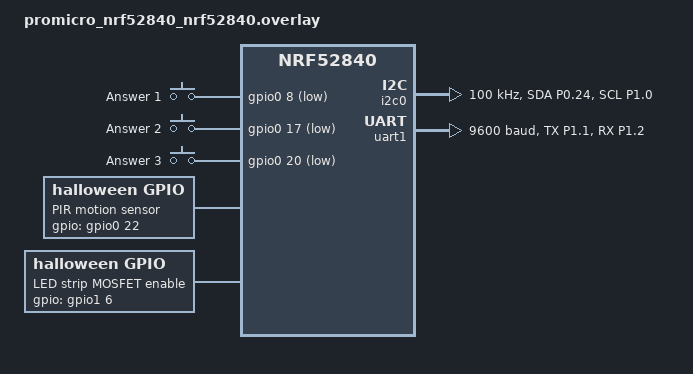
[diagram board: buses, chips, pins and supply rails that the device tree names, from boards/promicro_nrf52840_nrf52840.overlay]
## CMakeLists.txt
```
cmake_minimum_required(VERSION 3.20.0)
find_package(Zephyr REQUIRED HINTS $ENV{ZEPHYR_BASE})
project(halloween_station)

if(CONFIG_HALLOWEEN_GATE_STATION)
  target_sources(app PRIVATE src/gate.c)
else()
  target_sources(app PRIVATE src/main.c)
endif()
target_sources(app PRIVATE ../common/fota.c)
target_include_directories(app PRIVATE ../common)

if(CONFIG_HALLOWEEN_DFPLAYER AND NOT CONFIG_HALLOWEEN_GATE_STATION)
  target_sources(app PRIVATE ../common/dfplayer.c)
endif()
```

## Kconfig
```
menu "Halloween station"

config HALLOWEEN_STATION_ID
    int "Station ID (1..5)"
    range 1 5
    default 1
    help
      Station number in the puzzle chain. Station 1 starts the game;
      station 5 generates the final code.

config HALLOWEEN_GATE
    bool "Station 1 waits for the gate station (PIR) to activate it"
    default n
    help
      Without this, station 1 is active as soon as it boots or the game restarts. With it, station 1
      stays waiting until the gate station sends an activation (see gate.c). Only for station 1.

config HALLOWEEN_GATE_STATION
    bool "Build the gate station (PIR sensor) firmware instead of a puzzle station"
    default n
    help
      Use only via station_gate.conf.

if HALLOWEEN_GATE_STATION

config HALLOWEEN_GATE_PLAYER
    int "Music player (1..9) that plays the welcome and wait tracks"
    range 1 9
    default 1

config HALLOWEEN_GATE_WELCOME_TRACK
    int "Welcome/instructions track played when kids arrive"
    range 1 255
    default 10

config HALLOWEEN_GATE_WAIT_FIRST
    int "First wait track, played on motion while a game runs (0 = none)"
    range 0 255
    default 15

config HALLOWEEN_GATE_WAIT_LAST
    int "Last wait track"
    range 0 255
    default 18

config HALLOWEEN_GATE_WELCOME_SECONDS
    int "Length of the welcome track; station 1 is activated this long after it starts"
    range 1 300
    default 45

config HALLOWEEN_GATE_WAIT_COOLDOWN_SECONDS
    int "Minimum time between two wait tracks"
    range 1 600
    default 30

config HALLOWEEN_GATE_NEXT_WELCOME_SECONDS
    int "Delay before the welcome track when motion was seen during the round that just ended"
    range 0 600
    default 10

config HALLOWEEN_GATE_PIR_WARMUP_SECONDS
    int "Ignore the PIR this long after power-up"
    range 0 120
    default 30

config HALLOWEEN_GATE_GAME_TIMEOUT_MINUTES
    int "Treat the game as over after this long without the end of round being heard"
    range 1 240
    default 20

config HALLOWEEN_GATE_STATION1_TRACK
    int "Track station 1 plays locally when the gate activates it (0 = none)"
    range 0 255
    default 0

endif # HALLOWEEN_GATE_STATION

config HALLOWEEN_CORRECT_BUTTON
    int "Correct answer button (1..3)"
    range 1 3
    default 1
    help
      Which of the three answer buttons is correct at this station.

config HALLOWEEN_CODE_DISPLAY_SECONDS
    int "Seconds to show the final code on station 5's LCD (0 = always)"
    default 15
    help
      After this time the LCD hides the code and asks for it; the kids must
      then enter it on station 5's keypad from memory.

config HALLOWEEN_TEST_RELEASE_INTERVAL_S
    int "TEST: station 5 requests a candy release every N seconds (0 = off)"
    default 0
    help
      Skips the puzzle and keypad for testing the dispenser. Use only via
      station_5_test.conf, never for the real game.

config HALLOWEEN_TEST_SKIP_PUZZLE
    bool "TEST: station 5 starts directly at code entry and mirrors the LCD on the UART"
    default n
    help
      Skips the puzzle chain; the code is generated at boot and, after every
      released candy, once an answer button is pressed. Use only via station_5_code_test.conf, never for the real game.

config HALLOWEEN_DFPLAYER
    bool "DFPlayer Mini sound module on UART1"
    select SERIAL
    select UART_INTERRUPT_DRIVEN
    help
      Enables the DFPlayer Mini (see the overlay for the UART pins). Needs a
      board overlay that provides the dfplayer_uart node.

config HALLOWEEN_DFPLAYER_VOLUME
    int "DFPlayer volume (0..30)"
    range 0 30
    default 20
    depends on HALLOWEEN_DFPLAYER

config HALLOWEEN_ACTIVE_TRACK
    int "Track to play on this station when it becomes active (0 = none)"
    range 0 255
    default 0

config HALLOWEEN_CORRECT_TRACK
    int "Track to play on this station on a correct answer (0 = none)"
    range 0 255
    default 0

config HALLOWEEN_CODE_CORRECT_TRACK
    int "Station 5: track to play on this station when the correct code is typed (0 = none)"
    range 0 255
    default 0
    help
      Separate from HALLOWEEN_CORRECT_TRACK, which is used for the correct button press.

config HALLOWEEN_CELEBRATION_SECONDS
    int "Seconds the correct-answer music plays before the next station is activated"
    range 0 120
    default 8

config HALLOWEEN_WRONG_TRACK
    int "Track to play on this station on a wrong answer or wrong code (0 = none)"
    range 0 255
    default 0

config HALLOWEEN_WRONG_TIMEOUT_SECONDS
    int "Seconds all input is ignored after a wrong answer or wrong code"
    range 0 120
    default 5

config HALLOWEEN_NEW_ROUND_DELAY_SECONDS
    int "Station 5: seconds after the correct code before the new round starts"
    range 0 300
    default 40
    help
      The candy is released at the start of the celebration; the new round waits until the
      finale is over, even if the dispenser confirms earlier.

config HALLOWEEN_NEXT_STATION_TRACK
    int "Track the next station plays when this station activates it (0 = none)"
    range 0 255
    default 0
    help
      Sent in the activation message (stations 1-4). The next station needs
      a DFPlayer to play it; stations without one ignore it.

config HALLOWEEN_REMOTE_TRACK
    int "Track to start on another station or the dispenser when this one becomes active (0 = none)"
    range 0 255
    default 0

config HALLOWEEN_REMOTE_TARGET
    int "Target of HALLOWEEN_REMOTE_TRACK (1..5 = station, 0 = candy dispenser)"
    range 0 5
    default 0

config HALLOWEEN_REMOTE_PLAYER
    int "Send HALLOWEEN_REMOTE_TRACK to music player N instead (0 = no, 1..9 = player N)"
    range 0 9
    default 0
    help
      Music players (ESP32-C3, see music-player/) have their own IDs. When this is not 0,
      HALLOWEEN_REMOTE_TARGET is ignored and the track goes to the music player with this ID.

config HALLOWEEN_REMOTE_WRONG_TRACK
    int "Track sent to the remote player/target when a wrong button is pressed (0 = none)"
    range 0 255
    default 0

config HALLOWEEN_REMOTE_CORRECT_TRACK
    int "Track sent to the remote player/target when the correct button is pressed (0 = none)"
    range 0 255
    default 0

config HALLOWEEN_REMOTE_CODE_CORRECT_TRACK
    int "Station 5: track sent to the remote player/target when the correct code is typed (0 = none)"
    range 0 255
    default 0
    help
      Separate from HALLOWEEN_REMOTE_CORRECT_TRACK, which is used for the correct button press.

config HALLOWEEN_REMOTE_DELAYED_TRACK
    int "Track sent to the remote player/target some seconds after the correct button (0 = none)"
    range 0 255
    default 0
    help
      Sent once the delay has passed and the next station has acknowledged the activation
      (the BLE beacon is shared with the activation message). Cancelled when a new round starts.

config HALLOWEEN_REMOTE_DELAYED_SECONDS
    int "Delay in seconds for HALLOWEEN_REMOTE_DELAYED_TRACK"
    range 0 600
    default 10

config HALLOWEEN_LIGHTNING
    bool "Lightning effect on the LED of an active station"
    default y
    help
      A stuttering lightning intro when the station activates, then random short bursts.

config HALLOWEEN_DISPENSER_TRACK
    int "Station 5: track the dispenser plays when asked to release candy (0 = none)"
    range 0 255
    default 0

config HALLOWEEN_TEST_PINGPONG
    bool "TEST: stations 1 and 2 hand over to each other (1 -> 2 -> 1 -> ...)"
    default n
    help
      Station 1 is active from boot; a correct answer deactivates it and
      activates station 2, whose correct answer activates station 1 again.
      Use only via station_1_pingpong.conf / station_2_pingpong.conf.

config HALLOWEEN_TEST_PINGPONG_KEYPAD
    bool "TEST: a fixed code typed on the keypad also passes the activation on"
    depends on HALLOWEEN_TEST_PINGPONG
    help
      The station needs the 4x3 keypad wired as on station 5. '#' submits, '*' clears.

config HALLOWEEN_TEST_PINGPONG_CODE
    string "TEST: fixed keypad code (digits only, avoid 4, 5, 6)"
    default "1237"
    depends on HALLOWEEN_TEST_PINGPONG_KEYPAD

config HALLOWEEN_TEST_IO
    bool "TEST: station 5 shows pressed buttons and keys on the LCD and plays a track on the correct code"
    default n
    help
      Hardware test for station 5 only: no puzzle. Use only via station_5_io_test.conf.

config HALLOWEEN_TEST_IO_CODE
    string "TEST: keys that start the DFPlayer (digits only, avoid 4, 5, 6)"
    default "1237"
    depends on HALLOWEEN_TEST_IO

config HALLOWEEN_TEST_IO_TRACK
    int "TEST: DFPlayer track played when the correct keys are typed"
    range 1 255
    default 1
    depends on HALLOWEEN_TEST_IO

config HALLOWEEN_TEST_IO_NO_KEYPAD
    bool "TEST: do not scan the keypad (to check whether it disturbs the LCD)"
    default n
    depends on HALLOWEEN_TEST_IO

endmenu

source "Kconfig.zephyr"
```

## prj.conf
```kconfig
CONFIG_GPIO=y
CONFIG_PWM=y

CONFIG_BT=y
CONFIG_BT_OBSERVER=y
CONFIG_BT_BROADCASTER=y
CONFIG_BT_DEVICE_NAME="HalloweenStation"

CONFIG_LOG=y
CONFIG_LOG_DEFAULT_LEVEL=3
CONFIG_ASSERT=y

CONFIG_MAIN_STACK_SIZE=4096
CONFIG_HEAP_MEM_POOL_SIZE=1024

# FOTA over BLE (MCUboot + MCUmgr SMP), updated from the nRF Connect Device Manager app
CONFIG_BT_PERIPHERAL=y
CONFIG_BT_MAX_CONN=1
CONFIG_BOOTLOADER_MCUBOOT=y
CONFIG_NET_BUF=y
CONFIG_ZCBOR=y
CONFIG_CRC=y
CONFIG_FLASH=y
CONFIG_FLASH_MAP=y
CONFIG_STREAM_FLASH=y
CONFIG_IMG_MANAGER=y
CONFIG_MCUMGR=y
CONFIG_MCUMGR_GRP_IMG=y
CONFIG_MCUMGR_GRP_OS=y
CONFIG_MCUMGR_GRP_OS_MCUMGR_PARAMS=y
CONFIG_MCUMGR_TRANSPORT_BT=y
CONFIG_MCUMGR_TRANSPORT_BT_CONN_PARAM_CONTROL=y
CONFIG_MCUMGR_TRANSPORT_BT_REASSEMBLY=y
CONFIG_MCUMGR_TRANSPORT_NETBUF_SIZE=2475
CONFIG_MCUMGR_TRANSPORT_WORKQUEUE_STACK_SIZE=4608
CONFIG_SYSTEM_WORKQUEUE_STACK_SIZE=2304
CONFIG_BT_L2CAP_TX_MTU=498
CONFIG_BT_BUF_ACL_RX_SIZE=502
CONFIG_BT_BUF_ACL_TX_SIZE=502
CONFIG_BT_CTLR_DATA_LENGTH_MAX=251
```

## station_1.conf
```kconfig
CONFIG_HALLOWEEN_STATION_ID=1
CONFIG_HALLOWEEN_CORRECT_BUTTON=3
CONFIG_HALLOWEEN_REMOTE_PLAYER=2
CONFIG_HALLOWEEN_REMOTE_TRACK=25
CONFIG_HALLOWEEN_REMOTE_WRONG_TRACK=8
CONFIG_HALLOWEEN_REMOTE_CORRECT_TRACK=21
CONFIG_HALLOWEEN_REMOTE_DELAYED_TRACK=0
CONFIG_HALLOWEEN_REMOTE_DELAYED_SECONDS=10
CONFIG_HALLOWEEN_GATE=y
```

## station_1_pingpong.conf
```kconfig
CONFIG_HALLOWEEN_STATION_ID=1
CONFIG_HALLOWEEN_CORRECT_BUTTON=2
CONFIG_HALLOWEEN_TEST_PINGPONG=y
CONFIG_HALLOWEEN_TEST_PINGPONG_KEYPAD=y
CONFIG_HALLOWEEN_TEST_PINGPONG_CODE="1237"
```

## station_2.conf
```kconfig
CONFIG_HALLOWEEN_STATION_ID=2
CONFIG_HALLOWEEN_CORRECT_BUTTON=2
CONFIG_HALLOWEEN_REMOTE_PLAYER=2
CONFIG_HALLOWEEN_REMOTE_TRACK=25
CONFIG_HALLOWEEN_REMOTE_WRONG_TRACK=5
CONFIG_HALLOWEEN_REMOTE_CORRECT_TRACK=23
CONFIG_HALLOWEEN_REMOTE_DELAYED_TRACK=0
CONFIG_HALLOWEEN_REMOTE_DELAYED_SECONDS=10
```

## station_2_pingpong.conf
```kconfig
CONFIG_HALLOWEEN_STATION_ID=2
CONFIG_HALLOWEEN_CORRECT_BUTTON=3
CONFIG_HALLOWEEN_TEST_PINGPONG=y
```

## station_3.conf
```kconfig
CONFIG_HALLOWEEN_STATION_ID=3
CONFIG_HALLOWEEN_CORRECT_BUTTON=2
CONFIG_HALLOWEEN_REMOTE_PLAYER=2
CONFIG_HALLOWEEN_REMOTE_TRACK=9
CONFIG_HALLOWEEN_REMOTE_WRONG_TRACK=1
CONFIG_HALLOWEEN_REMOTE_CORRECT_TRACK=20
CONFIG_HALLOWEEN_REMOTE_DELAYED_TRACK=0
CONFIG_HALLOWEEN_REMOTE_DELAYED_SECONDS=10
```

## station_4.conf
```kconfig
CONFIG_HALLOWEEN_STATION_ID=4
CONFIG_HALLOWEEN_CORRECT_BUTTON=3
CONFIG_HALLOWEEN_REMOTE_PLAYER=3
CONFIG_HALLOWEEN_REMOTE_TRACK=24
CONFIG_HALLOWEEN_REMOTE_WRONG_TRACK=7
CONFIG_HALLOWEEN_REMOTE_CORRECT_TRACK=21
CONFIG_HALLOWEEN_REMOTE_DELAYED_TRACK=0
CONFIG_HALLOWEEN_REMOTE_DELAYED_SECONDS=10
```

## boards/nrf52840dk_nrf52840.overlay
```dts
/*
 * nRF52840 DK for testing a station (mainly station 5 with station_5_test.conf).
 * The three answer buttons are external, wired between GPIO and GND on P1.10 / P1.11 / P1.12
 * (override of the board's button1..button3).
 * The station LED output is LED1 (P0.13, active low).
 * The keypad ribbon pins 1..7 connect to P1.01..P1.07; the LCD I2C is the board's i2c0
 * (Arduino header SDA P0.26 / SCL P0.27). Without an LCD the firmware logs an error and continues.
 */
/ {
    halloween_keypad {
        /* HALJIA keypad ribbon pin N is wired to P1.0N: R1=pin2, R2=pin7, R3=pin6, R4=pin4, C1=pin3, C2=pin1, C3=pin5 */
        krow1: krow_1 { compatible = "halloween,gpio"; gpios = <&gpio1 2 GPIO_ACTIVE_HIGH>; };
        krow2: krow_2 { compatible = "halloween,gpio"; gpios = <&gpio1 7 GPIO_ACTIVE_HIGH>; };
        krow3: krow_3 { compatible = "halloween,gpio"; gpios = <&gpio1 6 GPIO_ACTIVE_HIGH>; };
        krow4: krow_4 { compatible = "halloween,gpio"; gpios = <&gpio1 4 GPIO_ACTIVE_HIGH>; };

        kcol1: kcol_1 { compatible = "halloween,gpio"; gpios = <&gpio1 3 GPIO_ACTIVE_HIGH>; };
        kcol2: kcol_2 { compatible = "halloween,gpio"; gpios = <&gpio1 1 GPIO_ACTIVE_HIGH>; };
        kcol3: kcol_3 { compatible = "halloween,gpio"; gpios = <&gpio1 5 GPIO_ACTIVE_HIGH>; };
    };

    halloween_led: halloween_led {
        compatible = "halloween,gpio";
        gpios = <&gpio0 13 GPIO_ACTIVE_LOW>;
        label = "LED1 as station LED";
    };
};

&button1 { gpios = <&gpio1 10 (GPIO_PULL_UP | GPIO_ACTIVE_LOW)>; };
&button2 { gpios = <&gpio1 11 (GPIO_PULL_UP | GPIO_ACTIVE_LOW)>; };
&button3 { gpios = <&gpio1 12 (GPIO_PULL_UP | GPIO_ACTIVE_LOW)>; };

/*
 * DFPlayer Mini on UART1 (9600 8N1), used when CONFIG_HALLOWEEN_DFPLAYER=y.
 *   DK P1.08 (TX) -> 1k resistor -> DFPlayer RX
 *   DK P1.09 (RX) <- DFPlayer TX
 * Power the DFPlayer from the DK's 5V and GND pins. P1.01..P1.07 are used by the keypad.
 */
&pinctrl {
    uart1_default: uart1_default {
        group1 {
            psels = <NRF_PSEL(UART_TX, 1, 8)>;
        };
        group2 {
            psels = <NRF_PSEL(UART_RX, 1, 9)>;
            bias-pull-up;
        };
    };
    uart1_sleep: uart1_sleep {
        group1 {
            psels = <NRF_PSEL(UART_TX, 1, 8)>,
                    <NRF_PSEL(UART_RX, 1, 9)>;
            low-power-enable;
        };
    };
};

dfplayer_uart: &uart1 {
    status = "okay";
    current-speed = <9600>;
    pinctrl-0 = <&uart1_default>;
    pinctrl-1 = <&uart1_sleep>;
    pinctrl-names = "default", "sleep";
};
```

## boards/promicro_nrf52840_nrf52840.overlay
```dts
#include <zephyr/dt-bindings/pinctrl/nrf-pinctrl.h>
#include <zephyr/dt-bindings/i2c/i2c.h>

/*
 * Pin assignment for the Pro Micro nRF52840 (buttons P0.08/P0.17/P0.20, LED P1.06, keypad, LCD I2C
 * P0.24/P1.00, DFPlayer P1.01/P1.02, as wired).
 *
 * Buttons: connect each button between its GPIO and GND.
 * Internal pull-ups are enabled; pressed reads as logical 1.
 * LED output: drives a suitable MOSFET/transistor gate input, NOT the LED strip directly.
 */
 / {
    halloween_buttons {
        compatible = "gpio-keys";

        button1: button_1 {
            gpios = <&gpio0 8 (GPIO_PULL_UP | GPIO_ACTIVE_LOW)>;
            label = "Answer 1";
        };

        button2: button_2 {
            gpios = <&gpio0 17 (GPIO_PULL_UP | GPIO_ACTIVE_LOW)>;
            label = "Answer 2";
        };

        button3: button_3 {
            gpios = <&gpio0 20 (GPIO_PULL_UP | GPIO_ACTIVE_LOW)>;
            label = "Answer 3";
        };
    };

    /*
     * Station 5 only: 4x3 code keypad, connector order R1..R4, C1..C3.
     * Rows are driven low one at a time; columns use internal pull-ups.
     * EXAMPLE pins, verify they are free/exposed on your board.
     */
    halloween_keypad {
        krow1: krow_1 { compatible = "halloween,gpio"; gpios = <&gpio0 29 GPIO_ACTIVE_HIGH>; };
        krow2: krow_2 { compatible = "halloween,gpio"; gpios = <&gpio0 6 GPIO_ACTIVE_HIGH>; };
        krow3: krow_3 { compatible = "halloween,gpio"; gpios = <&gpio1 11 GPIO_ACTIVE_HIGH>; };
        krow4: krow_4 { compatible = "halloween,gpio"; gpios = <&gpio1 15 GPIO_ACTIVE_HIGH>; };

        kcol1: kcol_1 { compatible = "halloween,gpio"; gpios = <&gpio0 2 GPIO_ACTIVE_HIGH>; };
        kcol2: kcol_2 { compatible = "halloween,gpio"; gpios = <&gpio0 31 GPIO_ACTIVE_HIGH>; };
        kcol3: kcol_3 { compatible = "halloween,gpio"; gpios = <&gpio1 13 GPIO_ACTIVE_HIGH>; };
    };

    /* Gate station only: PIR motion sensor output (EXAMPLE pin, verify it is free/exposed on your board). */
    halloween_pir: halloween_pir {
        compatible = "halloween,gpio";
        gpios = <&gpio0 22 (GPIO_PULL_DOWN | GPIO_ACTIVE_HIGH)>;
        label = "PIR motion sensor";
    };

    halloween_led: halloween_led {
        compatible = "halloween,gpio";
        gpios = <&gpio1 6 GPIO_ACTIVE_HIGH>;
        label = "LED strip MOSFET enable";
    };
};


/*
 * LCD I2C controller configuration.
 * Wiring: SDA = P0.24, SCL = P1.00 (the DFPlayer uses UART1 on P1.01/P1.02).
 */
&pinctrl {
    lcd_i2c0_default: lcd_i2c0_default {
        group1 {
            psels = <NRF_PSEL(TWIM_SDA, 0, 24)>,
                    <NRF_PSEL(TWIM_SCL, 1, 0)>;
            bias-pull-up; /* helps if the backpack's pull-ups are weak or missing */
        };
    };

    lcd_i2c0_sleep: lcd_i2c0_sleep {
        group1 {
            psels = <NRF_PSEL(TWIM_SDA, 0, 24)>,
                    <NRF_PSEL(TWIM_SCL, 1, 0)>;
            low-power-enable;
        };
    };
};

&i2c0 {
    status = "okay";
    pinctrl-0 = <&lcd_i2c0_default>;
    pinctrl-1 = <&lcd_i2c0_sleep>;
    pinctrl-names = "default", "sleep";
    clock-frequency = <I2C_BITRATE_STANDARD>;
};


/*
 * DFPlayer Mini on UART1 (9600 8N1), used when CONFIG_HALLOWEEN_DFPLAYER=y.
 *   P1.01 (TX) -> 1k resistor -> DFPlayer RX
 *   P1.02 (RX) <- DFPlayer TX
 * EXAMPLE pins, verify they are free/exposed on your board.
 * The board's uart1_default may exist already, so both groups are set explicitly.
 */
&pinctrl {
    uart1_default: uart1_default {
        group1 {
            psels = <NRF_PSEL(UART_TX, 1, 1)>;
        };
        group2 {
            psels = <NRF_PSEL(UART_RX, 1, 2)>;
            bias-pull-up;
        };
    };
    uart1_sleep: uart1_sleep {
        group1 {
            psels = <NRF_PSEL(UART_TX, 1, 1)>,
                    <NRF_PSEL(UART_RX, 1, 2)>;
            low-power-enable;
        };
    };
};

dfplayer_uart: &uart1 {
    status = "okay";
    current-speed = <9600>;
    pinctrl-0 = <&uart1_default>;
    pinctrl-1 = <&uart1_sleep>;
    pinctrl-names = "default", "sleep";
};
```

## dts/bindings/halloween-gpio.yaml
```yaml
description: Single GPIO output used by a Halloween station (LED strip driver)

compatible: "halloween,gpio"

properties:
  gpios:
    type: phandle-array
    required: true
  label:
    type: string
```

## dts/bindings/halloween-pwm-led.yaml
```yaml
description: PWM output used by a Halloween station (LED strip MOSFET gate)

compatible: "halloween,pwm-led"

properties:
  pwms:
    type: phandle-array
    required: true
  label:
    type: string
```

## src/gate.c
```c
/* Gate station: a PIR sensor at the entrance starts the game.
 *
 *   IDLE      motion -> a welcome track is played on a music player
 *   WELCOME   after the welcome track, station 1 is activated (MSG_ACTIVATE, repeated until it answers)
 *   RUNNING   motion -> a wait track (rate limited) and the motion is remembered
 *   end of round (MSG_NEW_ROUND from station 5 or 1, or a timeout) -> IDLE; if there was motion
 *   during the round the welcome track starts again, otherwise everything stays idle until new motion.
 */
#include <stdbool.h>
#include <stdint.h>

#include <zephyr/kernel.h>
#include <zephyr/device.h>
#include <zephyr/drivers/gpio.h>
#include <zephyr/devicetree.h>
#include <zephyr/bluetooth/bluetooth.h>
#include <zephyr/random/random.h>
#include <zephyr/logging/log.h>

#include <app_version.h>

#include "fota.h"

LOG_MODULE_REGISTER(halloween_gate, LOG_LEVEL_INF);

/* Same protocol as the stations (see stations/README.md). */
#define HALLOWEEN_SERVICE_UUID 0xFFF0
#define PROTOCOL_VERSION 1
#define MAGIC_0 0x48
#define MAGIC_1 0x57
#define MSG_ACTIVATE 1
#define MSG_IDLE 3
#define MSG_NEW_ROUND 5
#define MSG_PLAY_TRACK 8
#define IDLE_ACTIVE_FLAG 0x8000
#define MUSIC_PLAYER_TARGET_BASE 10
#define GATE_ID 6
#define FIRST_STATION_ID 1
#define LAST_STATION_ID 5
#define PLAY_BEACON_MS 3000
#define ACTIVATE_GIVE_UP_MS 60000
#define PAYLOAD_LEN 11
#define SERVICE_DATA_LEN (2 + PAYLOAD_LEN)

#define WELCOME_MS (CONFIG_HALLOWEEN_GATE_WELCOME_SECONDS * 1000)
#define WAIT_COOLDOWN_MS (CONFIG_HALLOWEEN_GATE_WAIT_COOLDOWN_SECONDS * 1000)
#define NEXT_WELCOME_MS (CONFIG_HALLOWEEN_GATE_NEXT_WELCOME_SECONDS * 1000)
#define PIR_WARMUP_MS (CONFIG_HALLOWEEN_GATE_PIR_WARMUP_SECONDS * 1000)
#define GAME_TIMEOUT_MS ((int64_t)CONFIG_HALLOWEEN_GATE_GAME_TIMEOUT_MINUTES * 60000)
#define PLAYER_TARGET (MUSIC_PLAYER_TARGET_BASE + CONFIG_HALLOWEEN_GATE_PLAYER)

BUILD_ASSERT(CONFIG_HALLOWEEN_GATE_WAIT_LAST >= CONFIG_HALLOWEEN_GATE_WAIT_FIRST,
             "wait track range is empty");

enum gate_state {
    GATE_IDLE,
    GATE_WELCOME,   /* welcome track playing */
    GATE_ACTIVATING, /* activation beacon for station 1 */
    GATE_RUNNING,   /* a game is in progress */
};

struct beacon_msg {
    uint8_t type;
    uint8_t target;
    uint8_t source;
    uint16_t session;
    uint32_t value;
};

static const struct gpio_dt_spec led = GPIO_DT_SPEC_GET(DT_NODELABEL(halloween_led), gpios);
static const struct gpio_dt_spec pir = GPIO_DT_SPEC_GET(DT_NODELABEL(halloween_pir), gpios);

K_MSGQ_DEFINE(beacon_msgq, sizeof(struct beacon_msg), 8, 4);

static const uint8_t adv_flags = BT_LE_AD_GENERAL | BT_LE_AD_NO_BREDR;
static uint8_t service_data[SERVICE_DATA_LEN] = {
    (uint8_t)(HALLOWEEN_SERVICE_UUID & 0xff),
    (uint8_t)(HALLOWEEN_SERVICE_UUID >> 8),
    MAGIC_0, MAGIC_1, PROTOCOL_VERSION, MSG_IDLE,
    0, GATE_ID, 0, 0, 0, 0, 0
};
static struct bt_data ad[] = {
    BT_DATA(BT_DATA_FLAGS, &adv_flags, sizeof(adv_flags)),
    BT_DATA(BT_DATA_SVC_DATA16, service_data, sizeof(service_data)),
};

static enum gate_state state = GATE_IDLE;
static uint16_t session_id;
static uint8_t play_seq;
static int64_t state_since_ms;
static int64_t play_beacon_until_ms;
static int64_t last_wait_ms;
static int64_t next_welcome_ms; /* 0 = none scheduled */
static bool motion_during_round;
static uint16_t last_end_session_5;
static uint16_t last_end_session_1;

/* Lightning on the MOSFET LED, as on the puzzle stations: a stuttering intro when the welcome starts that
 * settles to steady on, then sporadic bursts while the game is going. Every burst has an even number of
 * toggles, so it ends with the LED on. The LED is off while the gate is idle. */
#define LIGHTNING_INTRO_TOGGLES 14
#define LIGHTNING_GAP_MIN_MS 3000
#define LIGHTNING_GAP_MAX_MS 12000

static uint8_t lightning_toggles_left;
static bool lightning_level;
static int64_t lightning_next_ms;
static int64_t lightning_burst_at_ms; /* 0 = no burst scheduled */
static bool led_lit;

static void set_led(bool on)
{
    (void)gpio_pin_set_dt(&led, on ? 1 : 0);
}

static uint32_t lightning_rnd(uint32_t min, uint32_t max)
{
    return min + sys_rand32_get() % (max - min + 1U);
}

static void lightning_begin(uint8_t toggles)
{
    lightning_toggles_left = toggles;
    lightning_level = true;
    lightning_next_ms = 0; /* toggle at once */
    lightning_burst_at_ms = 0;
}

static void lightning_update(bool active)
{
    int64_t now = k_uptime_get();

    if (!active) {
        if (led_lit) {
            led_lit = false;
            lightning_toggles_left = 0;
            lightning_burst_at_ms = 0;
            set_led(false);
        }
        return;
    }
    if (!led_lit) {
        led_lit = true;
        if (IS_ENABLED(CONFIG_HALLOWEEN_LIGHTNING)) {
            lightning_begin(LIGHTNING_INTRO_TOGGLES);
        } else {
            set_led(true);
        }
        return;
    }
    if (!IS_ENABLED(CONFIG_HALLOWEEN_LIGHTNING)) {
        return;
    }

    if (lightning_toggles_left > 0) {
        if (now < lightning_next_ms) {
            return;
        }
        lightning_level = !lightning_level;
        set_led(lightning_level);
        lightning_toggles_left--;
        if (lightning_toggles_left == 0) {
            lightning_burst_at_ms = now + lightning_rnd(LIGHTNING_GAP_MIN_MS, LIGHTNING_GAP_MAX_MS);
        } else if (lightning_level) {
            lightning_next_ms = now + lightning_rnd(20, 90);
        } else {
            /* Mostly short gaps, now and then a longer blackout. */
            lightning_next_ms = now + (lightning_rnd(0, 5) == 0 ? lightning_rnd(300, 700)
                                                                : lightning_rnd(30, 200));
        }
    } else if (lightning_burst_at_ms != 0 && now >= lightning_burst_at_ms) {
        lightning_begin((uint8_t)(2U * lightning_rnd(1, 4)));
    }
}

static void update_beacon(uint8_t type, uint8_t target, uint32_t value)
{
    if (type != MSG_PLAY_TRACK) {
        play_beacon_until_ms = 0;
    }
    service_data[5] = type;
    service_data[6] = target;
    service_data[8] = (uint8_t)(session_id & 0xff);
    service_data[9] = (uint8_t)(session_id >> 8);
    service_data[10] = (uint8_t)(value & 0xff);
    service_data[11] = (uint8_t)((value >> 8) & 0xff);
    service_data[12] = (uint8_t)((value >> 16) & 0xff);

    int rc = fota_adv_update(ad, ARRAY_SIZE(ad));

    if (rc < 0) {
        LOG_ERR("Updating BLE beacon failed: %d", rc);
    }
}

static void play_on_player(uint16_t track)
{
    play_seq = (uint8_t)(play_seq + 1U);
    if (play_seq == 0) {
        play_seq = 1;
    }
    update_beacon(MSG_PLAY_TRACK, PLAYER_TARGET, (uint32_t)track | ((uint32_t)play_seq << 16));
    play_beacon_until_ms = k_uptime_get() + PLAY_BEACON_MS;
    LOG_INF("Playing track %u on music player %d", track, CONFIG_HALLOWEEN_GATE_PLAYER);
}

static uint16_t random_track(uint16_t first, uint16_t last)
{
    return first + (uint16_t)(sys_rand32_get() % (uint32_t)(last - first + 1));
}

static void set_state(enum gate_state next)
{
    state = next;
    state_since_ms = k_uptime_get();
}

static void start_welcome(void)
{
    motion_during_round = false;
    next_welcome_ms = 0;
    set_state(GATE_WELCOME);
    play_on_player(CONFIG_HALLOWEEN_GATE_WELCOME_TRACK);
    LOG_INF("Welcome; activating station 1 in %d s", CONFIG_HALLOWEEN_GATE_WELCOME_SECONDS);
}

static void start_activation(void)
{
    do {
        session_id = (uint16_t)sys_rand32_get();
    } while (session_id == 0);

    set_state(GATE_ACTIVATING);
    update_beacon(MSG_ACTIVATE, FIRST_STATION_ID, CONFIG_HALLOWEEN_GATE_STATION1_TRACK);
    LOG_INF("Activating station 1");
}

static void game_running(void)
{
    set_state(GATE_RUNNING);
    last_wait_ms = k_uptime_get();
    update_beacon(MSG_IDLE, 0, 0);
}

static void game_over(const char *why)
{
    LOG_INF("Game over (%s); %s", why, motion_during_round ? "motion seen, welcoming again" : "idle");
    set_state(GATE_IDLE);
    update_beacon(MSG_IDLE, 0, 0);
    if (motion_during_round) {
        next_welcome_ms = k_uptime_get() + NEXT_WELCOME_MS;
        if (next_welcome_ms == 0) {
            next_welcome_ms = 1;
        }
    }
}

static void process_beacon(const struct beacon_msg *msg)
{
    if (msg->source < FIRST_STATION_ID || msg->source > LAST_STATION_ID) {
        return;
    }

    /* Station 1 answering (it is active, or plays its start track) proves it got the activation. */
    if (state == GATE_ACTIVATING && msg->source == FIRST_STATION_ID &&
        ((msg->type == MSG_IDLE && (msg->value & IDLE_ACTIVE_FLAG)) || msg->type == MSG_PLAY_TRACK)) {
        LOG_INF("Station 1 is active; game running");
        game_running();
        return;
    }

    /* Station 5 announces a new round after the candy; a restart of station 1 does so too. The
     * announcements repeat for a while, so each session ends the game only once. */
    if (msg->type == MSG_NEW_ROUND && msg->session != 0 && state == GATE_RUNNING) {
        if (msg->source == LAST_STATION_ID && msg->session != last_end_session_5) {
            last_end_session_5 = msg->session;
            game_over("candy released");
        } else if (msg->source == FIRST_STATION_ID && msg->session != last_end_session_1) {
            last_end_session_1 = msg->session;
            game_over("station 1 restarted");
        }
    }
}

static bool parse_ad(struct bt_data *data, void *user_data)
{
    struct beacon_msg *msg = user_data;

    if (data->type != BT_DATA_SVC_DATA16 || data->data_len < SERVICE_DATA_LEN ||
        data->data[0] != (uint8_t)(HALLOWEEN_SERVICE_UUID & 0xff) ||
        data->data[1] != (uint8_t)(HALLOWEEN_SERVICE_UUID >> 8)) {
        return true;
    }

    const uint8_t *p = data->data + 2;

    if (p[0] != MAGIC_0 || p[1] != MAGIC_1 || p[2] != PROTOCOL_VERSION) {
        return true;
    }
    msg->type = p[3];
    msg->target = p[4];
    msg->source = p[5];
    msg->session = (uint16_t)p[6] | ((uint16_t)p[7] << 8);
    msg->value = (uint32_t)p[8] | ((uint32_t)p[9] << 8) | ((uint32_t)p[10] << 16);
    return false;
}

static void device_found(const bt_addr_le_t *addr, int8_t rssi, uint8_t adv_type,
                         struct net_buf_simple *ad_buf)
{
    ARG_UNUSED(addr);
    ARG_UNUSED(rssi);
    ARG_UNUSED(adv_type);

    struct beacon_msg msg = {0};

    /* parse_ad returns false once it has found a game beacon */
    msg.type = 0xff;
    bt_data_parse(ad_buf, parse_ad, &msg);
    if (msg.type != 0xff) {
        (void)k_msgq_put(&beacon_msgq, &msg, K_NO_WAIT);
    }
}

static void motion_detected(int64_t now)
{
    switch (state) {
    case GATE_IDLE:
        if (next_welcome_ms == 0) {
            LOG_INF("Motion at the gate");
            start_welcome();
        }
        break;
    case GATE_RUNNING:
        motion_during_round = true;
        if (CONFIG_HALLOWEEN_GATE_WAIT_FIRST > 0 && now - last_wait_ms >= WAIT_COOLDOWN_MS) {
            last_wait_ms = now;
            LOG_INF("Motion during the game; asking for patience");
            play_on_player(random_track(CONFIG_HALLOWEEN_GATE_WAIT_FIRST, CONFIG_HALLOWEEN_GATE_WAIT_LAST));
        }
        break;
    default:
        /* The beacon is busy with the welcome or the activation. */
        break;
    }
}

int main(void)
{
    int rc;

    LOG_INF("Halloween gate station v%s", APP_VERSION_STRING);

    if (!gpio_is_ready_dt(&pir) || gpio_pin_configure_dt(&pir, GPIO_INPUT) < 0) {
        LOG_ERR("PIR pin setup failed");
        return 0;
    }
    if (!gpio_is_ready_dt(&led) || gpio_pin_configure_dt(&led, GPIO_OUTPUT_INACTIVE) < 0) {
        LOG_ERR("LED pin setup failed");
        return 0;
    }

    rc = bt_enable(NULL);
    if (rc < 0) {
        LOG_ERR("Bluetooth init failed: %d", rc);
        return 0;
    }

    /* "GT-v<version>", e.g. GT-v1.0.0; at most 11 characters (see fota.h) */
    static const char fota_name[] = "GT-v" APP_VERSION_STRING;
    BUILD_ASSERT(sizeof(fota_name) - 1 <= 11, "version too long for the advertised name");

    rc = fota_adv_start(ad, ARRAY_SIZE(ad), fota_name);
    if (rc < 0) {
        LOG_ERR("BLE advertising start failed: %d", rc);
        return 0;
    }
    fota_confirm_image();

    rc = bt_le_scan_start(BT_LE_SCAN_ACTIVE, device_found);
    if (rc < 0) {
        LOG_ERR("BLE scanning start failed: %d", rc);
        return 0;
    }

    LOG_INF("Gate ready; ignoring the PIR for %d s", CONFIG_HALLOWEEN_GATE_PIR_WARMUP_SECONDS);

    while (1) {
        int64_t now = k_uptime_get();
        struct beacon_msg msg;

        while (k_msgq_get(&beacon_msgq, &msg, K_NO_WAIT) == 0) {
            process_beacon(&msg);
        }

        if (play_beacon_until_ms != 0 && now >= play_beacon_until_ms) {
            play_beacon_until_ms = 0;
            /* Keep the activation beacon if it was sent in the meantime (it is not a play beacon). */
            if (state != GATE_ACTIVATING) {
                update_beacon(MSG_IDLE, 0, 0);
            }
        }

        if (state == GATE_WELCOME && now - state_since_ms >= WELCOME_MS) {
            start_activation();
        } else if (state == GATE_ACTIVATING && now - state_since_ms >= ACTIVATE_GIVE_UP_MS) {
            LOG_WRN("Station 1 did not answer; giving up");
            game_over("no answer from station 1");
        } else if (state == GATE_RUNNING && now - state_since_ms >= GAME_TIMEOUT_MS) {
            game_over("timeout");
        }

        if (state == GATE_IDLE && next_welcome_ms != 0 && now >= next_welcome_ms) {
            start_welcome();
        }

        int pir_level = gpio_pin_get_dt(&pir);
        static int last_pir_level = -1;
        static bool warmup_logged;

        if (pir_level != last_pir_level) {
            last_pir_level = pir_level;
            LOG_INF("PIR level %d%s", pir_level, now < PIR_WARMUP_MS ? " (ignored, warming up)" : "");
        }
        if (now >= PIR_WARMUP_MS && !warmup_logged) {
            warmup_logged = true;
            LOG_INF("PIR warm-up done; motion is now detected");
        }
        if (now >= PIR_WARMUP_MS && pir_level > 0) {
            motion_detected(now);
        }

        lightning_update(state != GATE_IDLE);

        k_msleep(20);
    }
    return 0;
}
```
